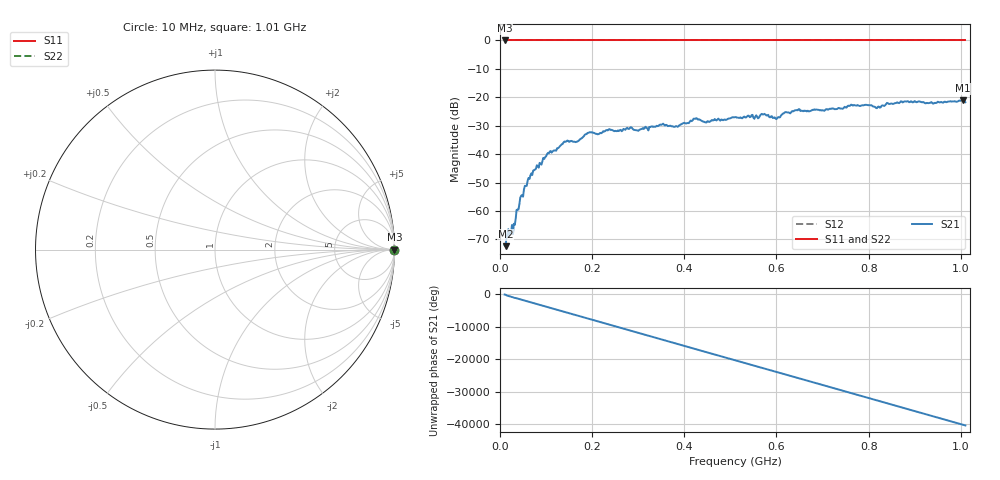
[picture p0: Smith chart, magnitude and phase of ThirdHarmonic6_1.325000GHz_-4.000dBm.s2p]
! 8/16/2025 2:45:36 PM
! C:\ANRITSUVNA\TEMP\TEMP.S2P
! CHANNEL.1
! TR.MEASUREMENT
! RAW.DATA
! RF.CORRECTION.OFF
! AVERAGING.OFF
! IF.BANDWIDTH: 5KHZ
! SWEEPTYPE:  FREQ.SWEEP(Linear)
! Reference Plane Port Info
! PORT:  PORT1  PORT2
! DISTANCE:  0  m  0  m
! TIME:  0  s  0  s
! PHASE.OFFSET:  0  deg.  0  deg.
! LOSS:  0  dB  0  dB
! REF.LOSS:  0  dB  0  dB
! REF.FREQ:  0  Hz  0  Hz
! Power Info
! POWER:  -20  dBm  -20  dBm
! EFF.POWER:  -20  dBm  -20  dBm
! SOURCE.ATTEN:  0  dB  0  dB
! TEST.ATTEN:  0  dB  0  dB
# GHZ S RI R 50.0
! FREQ.GHZ  S11RE  S11IM  S21RE  S21IM  S12RE  S12IM  S22RE  S22IM
!; PortSelection: Port_12
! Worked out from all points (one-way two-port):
!   501 points, 10 MHz to 1.01 GHz, reference 50 ohm
!   highest |S21| = -21.09 dB at 1.004 GHz (marker M1); lowest = -72.4 dB at 12 MHz (marker M2)
!   lowest |S11| = 0.0 dB at 10 MHz (marker M3)
!   |S11| at or under -10 dB: nowhere
!   |S22| runs from 0.0 to 0.0 dB; largest |S21 - S12| = 1.1
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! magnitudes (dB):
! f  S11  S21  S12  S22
! 10 MHz  0.0  -72.0  0.0  0.0
! 12 MHz  0.0  -72.4  0.0  0.0
! 18 MHz  0.0  -66.4  0.0  0.0
! 28 MHz  0.0  -68.1  0.0  0.0
! 40 MHz  0.0  -59.5  0.0  0.0
! 58 MHz  0.0  -51.2  0.0  0.0
! 76 MHz  0.0  -45.4  0.0  0.0
! 106 MHz  0.0  -39.7  0.0  0.0
! 142 MHz  0.0  -35.6  0.0  0.0
! 178 MHz  0.0  -34.3  0.0  0.0
! 194 MHz  0.0  -32.3  0.0  0.0
! 344 MHz  0.0  -30.1  0.0  0.0
! 382 MHz  0.0  -30.1  0.0  0.0
! 424 MHz  0.0  -27.5  0.0  0.0
! 510 MHz  0.0  -27.0  0.0  0.0
! 572 MHz  0.0  -26.0  0.0  0.0
! 602 MHz  0.0  -27.2  0.0  0.0
! 620 MHz  0.0  -25.2  0.0  0.0
! 678 MHz  0.0  -24.4  0.0  0.0
! 844 MHz  0.0  -22.3  0.0  0.0
! 1.004 GHz  0.0  -21.1  0.0  0.0
! 1.01 GHz  0.0  -21.7  0.0  0.0
